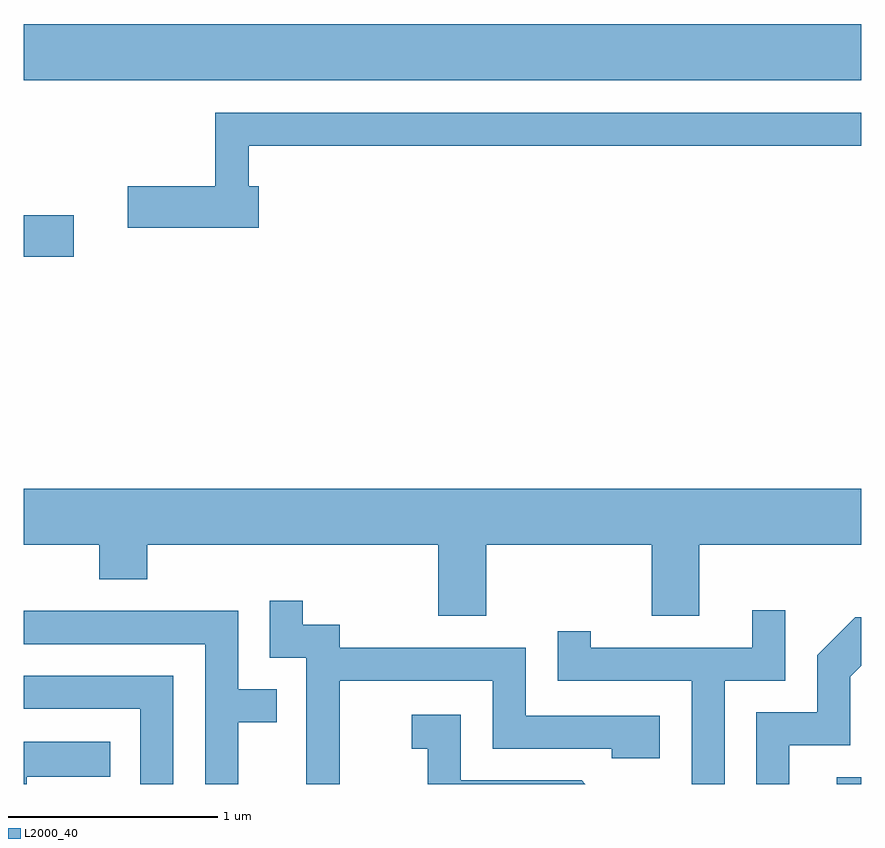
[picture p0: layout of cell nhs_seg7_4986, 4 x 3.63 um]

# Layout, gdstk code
import gdstk
lib = gdstk.Library(unit=1e-6, precision=1e-09)
def R(c, l, rs):  # rectangles x0, y0, x1, y1
    for r in rs: c.add(gdstk.rectangle(r[:2], r[2:], *l))
def P(c, l, *ps):  # polygons
    for p in ps: c.add(gdstk.Polygon(p, *l))
L2000_40 = (2000, 40)

nhs_seg7_4986 = lib.new_cell('nhs_seg7_4986')
R(nhs_seg7_4986, L2000_40, [(341.496,1744.252,341.611,1744.284), (337.611,1746.771,337.849,1746.969), (337.611,1747.616,341.611,1747.884)])
P(nhs_seg7_4986, L2000_40, [(338.734,1747.109),(338.684,1747.109),(338.684,1747.301),(341.611,1747.301),(341.611,1747.459),(338.526,1747.459),(338.526,1747.109),(338.106,1747.109),(338.106,1746.911),(338.734,1746.911)],
  [(339.819,1745.396),(340.611,1745.396),(340.611,1745.056),(340.839,1745.056),(340.839,1745.396),(341.611,1745.396),(341.611,1745.664),(337.611,1745.664),(337.611,1745.396),(337.971,1745.396),(337.971,1745.231),(338.199,1745.231),(338.199,1745.396),(339.591,1745.396),(339.591,1745.056),(339.819,1745.056)],
  [(339.119,1744.746),(339.851,1744.746),(339.851,1744.421),(340.421,1744.421),(340.421,1744.376),(340.649,1744.376),(340.649,1744.579),(340.009,1744.579),(340.009,1744.904),(339.119,1744.904),(339.119,1745.014),(338.944,1745.014),(338.944,1745.128),(338.786,1745.128),(338.786,1744.856),(338.961,1744.856),(338.961,1744.252),(339.119,1744.252)],
  [(340.959,1744.746),(341.249,1744.746),(341.249,1745.083),(341.091,1745.083),(341.091,1744.904),(340.319,1744.904),(340.319,1744.983),(340.161,1744.983),(340.161,1744.746),(340.801,1744.746),(340.801,1744.252),(340.959,1744.252)],
  [(338.634,1744.546),(338.818,1744.546),(338.818,1744.704),(338.634,1744.704),(338.634,1745.079),(337.611,1745.079),(337.611,1744.921),(338.476,1744.921),(338.476,1744.252),(338.634,1744.252)],
  [(341.269,1744.436),(341.559,1744.436),(341.559,1744.764),(341.611,1744.816),(341.611,1745.049),(341.584,1745.049),(341.401,1744.867),(341.401,1744.594),(341.111,1744.594),(341.111,1744.252),(341.269,1744.252)],
  [(338.324,1744.769),(337.611,1744.769),(337.611,1744.611),(338.166,1744.611),(338.166,1744.252),(338.324,1744.252)],
  [(340.277,1744.269),(339.699,1744.269),(339.699,1744.584),(339.463,1744.584),(339.463,1744.421),(339.541,1744.421),(339.541,1744.252),(340.294,1744.252)],
  [(337.624,1744.286),(338.023,1744.286),(338.023,1744.454),(337.611,1744.454),(337.611,1744.252),(337.624,1744.252)])

lib.write_gds('nhs_seg7_4986.gds')
